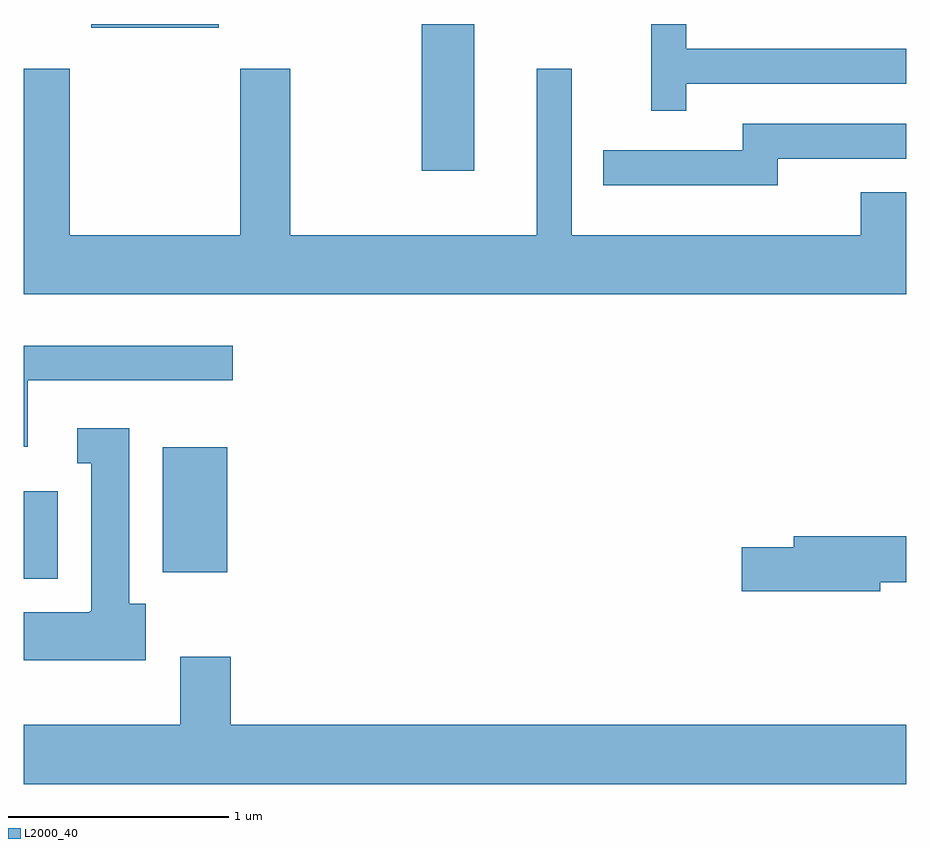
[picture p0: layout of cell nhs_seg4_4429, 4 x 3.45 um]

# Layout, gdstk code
import gdstk
lib = gdstk.Library(unit=1e-6, precision=1e-09)
def R(c, l, rs):  # rectangles x0, y0, x1, y1
    for r in rs: c.add(gdstk.rectangle(r[:2], r[2:], *l))
def P(c, l, *ps):  # polygons
    for p in ps: c.add(gdstk.Polygon(p, *l))
L2000_40 = (2000, 40)

nhs_seg4_4429 = lib.new_cell('nhs_seg4_4429')
R(nhs_seg4_4429, L2000_40, [(315.611,1273.466,315.764,1273.864), (316.241,1273.496,316.534,1274.064), (317.416,1275.316,317.654,1275.982), (315.916,1275.966,316.494,1275.982)])
P(nhs_seg4_4429, L2000_40, [(318.614,1275.711),(319.611,1275.711),(319.611,1275.869),(318.614,1275.869),(318.614,1275.982),(318.456,1275.982),(318.456,1275.588),(318.614,1275.588)],
  [(319.611,1275.219),(319.406,1275.219),(319.406,1275.024),(318.094,1275.024),(318.094,1275.778),(317.936,1275.778),(317.936,1275.024),(316.819,1275.024),(316.819,1275.779),(316.591,1275.779),(316.591,1275.024),(315.819,1275.024),(315.819,1275.779),(315.611,1275.779),(315.611,1274.756),(319.611,1274.756)],
  [(319.029,1275.371),(319.611,1275.371),(319.611,1275.529),(318.871,1275.529),(318.871,1275.409),(318.238,1275.409),(318.238,1275.251),(319.029,1275.251)],
  [(315.629,1274.366),(316.558,1274.366),(316.558,1274.524),(315.611,1274.524),(315.611,1274.066),(315.629,1274.066)],
  [(316.164,1273.354),(316.089,1273.354),(316.089,1274.149),(315.853,1274.149),(315.853,1273.991),(315.916,1273.991),(315.916,1273.32),(315.91,1273.32),(315.91,1273.314),(315.611,1273.314),(315.611,1273.096),(316.164,1273.096)],
  [(319.494,1273.451),(319.611,1273.451),(319.611,1273.659),(319.101,1273.659),(319.101,1273.609),(318.866,1273.609),(318.866,1273.411),(319.494,1273.411)],
  [(319.611,1272.804),(316.549,1272.804),(316.549,1273.114),(316.321,1273.114),(316.321,1272.804),(315.611,1272.804),(315.611,1272.536),(319.611,1272.536)])

lib.write_gds('nhs_seg4_4429.gds')
